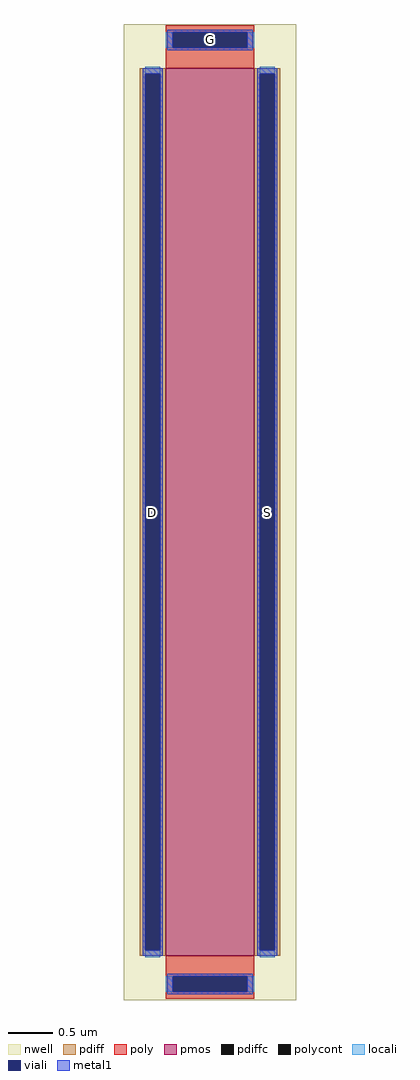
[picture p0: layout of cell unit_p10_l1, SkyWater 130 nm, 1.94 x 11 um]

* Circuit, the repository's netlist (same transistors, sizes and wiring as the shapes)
* NGSPICE file created from unit_p10_l1.ext - technology: sky130A

.subckt unit_p10_l1 D S G
X0 S G D w_n194_n1100# sky130_fd_pr__pfet_01v8 ad=2.9 pd=20.58 as=2.9 ps=20.58 w=10 l=1
.ends

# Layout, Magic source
magic
tech sky130A
magscale 1 2
<< nwell >>
rect -194 -1100 194 1100
<< pmos >>
rect -100 -1000 100 1000
<< pdiff >>
rect -158 988 -100 1000
rect -158 -988 -146 988
rect -112 -988 -100 988
rect -158 -1000 -100 -988
rect 100 988 158 1000
rect 100 -988 112 988
rect 146 -988 158 988
rect 100 -1000 158 -988
<< pdiffc >>
rect -146 -988 -112 988
rect 112 -988 146 988
<< poly >>
rect -100 1081 100 1097
rect -100 1047 -84 1081
rect 84 1047 100 1081
rect -100 1000 100 1047
rect -100 -1047 100 -1000
rect -100 -1081 -84 -1047
rect 84 -1081 100 -1047
rect -100 -1097 100 -1081
<< polycont >>
rect -84 1047 84 1081
rect -84 -1081 84 -1047
<< locali >>
rect -100 1047 -84 1081
rect 84 1047 100 1081
rect -146 988 -112 1004
rect -146 -1004 -112 -988
rect 112 988 146 1004
rect 112 -1004 146 -988
rect -100 -1081 -84 -1047
rect 84 -1081 100 -1047
<< viali >>
rect -84 1047 84 1081
rect -146 -988 -112 988
rect 112 -988 146 988
rect -84 -1081 84 -1047
<< metal1 >>
rect -96 1081 96 1087
rect -96 1047 -84 1081
rect 84 1047 96 1081
rect -96 1041 96 1047
rect -152 988 -106 1000
rect -152 -988 -146 988
rect -112 -988 -106 988
rect -152 -1000 -106 -988
rect 106 988 152 1000
rect 106 -988 112 988
rect 146 -988 152 988
rect 106 -1000 152 -988
rect -96 -1047 96 -1041
rect -96 -1081 -84 -1047
rect 84 -1081 96 -1047
rect -96 -1087 96 -1081
<< labels >>
rlabel pdiffc -129 0 -129 0 0 D
port 1 nsew
rlabel pdiffc 129 0 129 0 0 S
port 2 nsew
rlabel polycont 0 1064 0 1064 0 G
port 3 nsew
<< end >>
